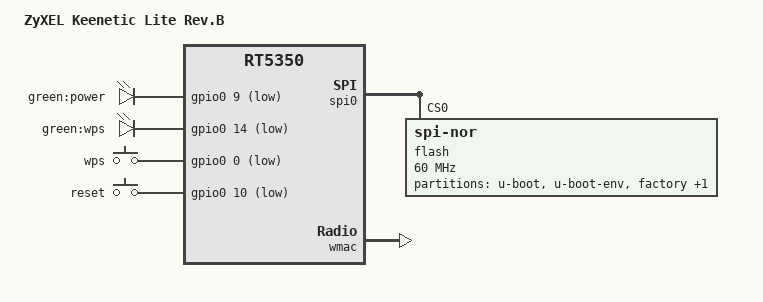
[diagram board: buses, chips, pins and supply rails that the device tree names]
// SPDX-License-Identifier: GPL-2.0-or-later

#include "rt5350.dtsi"

#include <dt-bindings/gpio/gpio.h>
#include <dt-bindings/input/input.h>

/ {
	compatible = "zyxel,keenetic-lite-b", "ralink,rt5350-soc";
	model = "ZyXEL Keenetic Lite Rev.B";

	aliases {
		led-boot = &led_power;
		led-failsafe = &led_power;
		led-running = &led_power;
		led-upgrade = &led_power;
	};

	leds {
		compatible = "gpio-leds";

		led_power: power {
			label = "green:power";
			gpios = <&gpio0 9 GPIO_ACTIVE_LOW>;
		};

		wps {
			label = "green:wps";
			gpios = <&gpio0 14 GPIO_ACTIVE_LOW>;
		};
	};

	keys {
		compatible = "gpio-keys";

		wps {
			label = "wps";
			gpios = <&gpio0 0 GPIO_ACTIVE_LOW>;
			linux,code = <KEY_WPS_BUTTON>;
		};

		reset {
			label = "reset";
			gpios = <&gpio0 10 GPIO_ACTIVE_LOW>;
			linux,code = <KEY_RESTART>;
		};
	};
};

&spi0 {
	status = "okay";

	flash@0 {
		compatible = "jedec,spi-nor";
		reg = <0>;
		spi-max-frequency = <60000000>;

		partitions {
			compatible = "fixed-partitions";
			#address-cells = <1>;
			#size-cells = <1>;

			partition@0 {
				label = "u-boot";
				reg = <0x0 0x30000>;
				read-only;
			};

			partition@30000 {
				label = "u-boot-env";
				reg = <0x30000 0x10000>;
				read-only;
			};

			factory: partition@40000 {
				label = "factory";
				reg = <0x40000 0x10000>;
				read-only;
			};

			partition@50000 {
				compatible = "denx,uimage";
				label = "firmware";
				reg = <0x50000 0x7b0000>;
			};
		};
	};
};

&state_default {
	gpio {
		groups = "uartf";
		function = "gpio";
	};
};

&ethernet {
	mtd-mac-address = <&factory 0x28>;
};

&esw {
	mediatek,portmap = <0x2f>;
	mediatek,led_polarity = <0x17>;
};

&wmac {
	ralink,led-polarity = <1>;
	ralink,mtd-eeprom = <&factory 0x0>;
};
